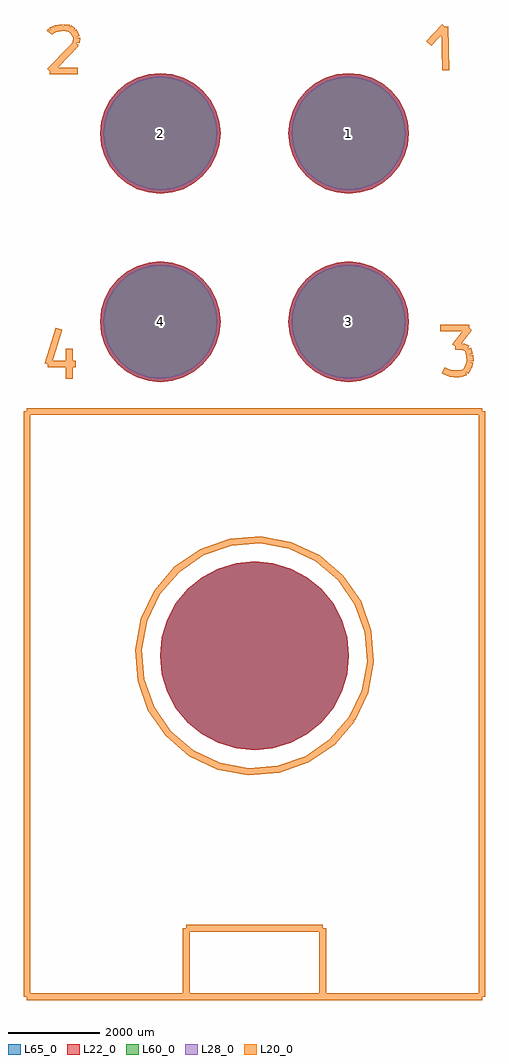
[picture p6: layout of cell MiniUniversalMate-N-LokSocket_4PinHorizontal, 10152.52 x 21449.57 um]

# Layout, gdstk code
import gdstk
lib = gdstk.Library(unit=1e-6, precision=1e-09)
def P(c, l, *ps):  # polygons
    for p in ps: c.add(gdstk.Polygon(p, *l))
L20_0 = (20, 0)
L22_0 = (22, 0)
L28_0 = (28, 0)
L60_0 = (60, 0)
L65_0 = (65, 0)

miniuniversalmate_n_loks = lib.new_cell('MiniUniversalMate-N-LokSocket_4PinHorizontal')
P(miniuniversalmate_n_loks, L22_0, [(2075.25,-9410.7),(2035.375,-9005.839),(1917.281,-8616.536),(1725.507,-8257.753),(1467.423,-7943.277),(1152.947,-7685.193),(794.164,-7493.419),(404.861,-7375.325),(0,-7335.45),(-404.861,-7375.325),(-794.164,-7493.419),(-1152.947,-7685.193),(-1467.423,-7943.277),(-1725.507,-8257.753),(-1917.281,-8616.536),(-2035.375,-9005.839),(-2075.25,-9410.7),(-2035.375,-9815.561),(-1917.281,-10204.864),(-1725.507,-10563.647),(-1467.423,-10878.123),(-1152.947,-11136.207),(-794.164,-11327.981),(-404.861,-11446.075),(0,-11485.95),(404.861,-11446.075),(794.164,-11327.981),(1152.947,-11136.207),(1467.423,-10878.123),(1725.507,-10563.647),(1917.281,-10204.864),(2035.375,-9815.561)],
  [(-745.42,-2070.1),(-770.873,-1811.668),(-846.255,-1563.167),(-968.669,-1334.147),(-1133.41,-1133.41),(-1334.147,-968.669),(-1563.167,-846.255),(-1811.668,-770.873),(-2070.1,-745.42),(-2328.532,-770.873),(-2577.033,-846.255),(-2806.053,-968.669),(-3006.79,-1133.41),(-3171.531,-1334.147),(-3293.945,-1563.167),(-3369.327,-1811.668),(-3394.78,-2070.1),(-3369.327,-2328.532),(-3293.945,-2577.033),(-3171.531,-2806.053),(-3006.79,-3006.79),(-2806.053,-3171.531),(-2577.033,-3293.945),(-2328.532,-3369.327),(-2070.1,-3394.78),(-1811.668,-3369.327),(-1563.167,-3293.945),(-1334.147,-3171.531),(-1133.41,-3006.79),(-968.669,-2806.053),(-846.255,-2577.033),(-770.873,-2328.532)],
  [(3394.78,-2070.1),(3369.327,-1811.668),(3293.945,-1563.167),(3171.531,-1334.147),(3006.79,-1133.41),(2806.053,-968.669),(2577.033,-846.255),(2328.532,-770.873),(2070.1,-745.42),(1811.668,-770.873),(1563.167,-846.255),(1334.147,-968.669),(1133.41,-1133.41),(968.669,-1334.147),(846.255,-1563.167),(770.873,-1811.668),(745.42,-2070.1),(770.873,-2328.532),(846.255,-2577.033),(968.669,-2806.053),(1133.41,-3006.79),(1334.147,-3171.531),(1563.167,-3293.945),(1811.668,-3369.327),(2070.1,-3394.78),(2328.532,-3369.327),(2577.033,-3293.945),(2806.053,-3171.531),(3006.79,-3006.79),(3171.531,-2806.053),(3293.945,-2577.033),(3369.327,-2328.532)],
  [(-745.42,2070.1),(-770.873,2328.532),(-846.255,2577.033),(-968.669,2806.053),(-1133.41,3006.79),(-1334.147,3171.531),(-1563.167,3293.945),(-1811.668,3369.327),(-2070.1,3394.78),(-2328.532,3369.327),(-2577.033,3293.945),(-2806.053,3171.531),(-3006.79,3006.79),(-3171.531,2806.053),(-3293.945,2577.033),(-3369.327,2328.532),(-3394.78,2070.1),(-3369.327,1811.668),(-3293.945,1563.167),(-3171.531,1334.147),(-3006.79,1133.41),(-2806.053,968.669),(-2577.033,846.255),(-2328.532,770.873),(-2070.1,745.42),(-1811.668,770.873),(-1563.167,846.255),(-1334.147,968.669),(-1133.41,1133.41),(-968.669,1334.147),(-846.255,1563.167),(-770.873,1811.668)],
  [(3394.78,2070.1),(3369.327,2328.532),(3293.945,2577.033),(3171.531,2806.053),(3006.79,3006.79),(2806.053,3171.531),(2577.033,3293.945),(2328.532,3369.327),(2070.1,3394.78),(1811.668,3369.327),(1563.167,3293.945),(1334.147,3171.531),(1133.41,3006.79),(968.669,2806.053),(846.255,2577.033),(770.873,2328.532),(745.42,2070.1),(770.873,1811.668),(846.255,1563.167),(968.669,1334.147),(1133.41,1133.41),(1334.147,968.669),(1563.167,846.255),(1811.668,770.873),(2070.1,745.42),(2328.532,770.873),(2577.033,846.255),(2806.053,968.669),(3006.79,1133.41),(3171.531,1334.147),(3293.945,1563.167),(3369.327,1811.668)])
P(miniuniversalmate_n_loks, L28_0, [(-820.42,-2070.1),(-844.432,-1826.3),(-915.546,-1591.868),(-1031.029,-1375.815),(-1186.443,-1186.443),(-1375.815,-1031.029),(-1591.868,-915.546),(-1826.3,-844.432),(-2070.1,-820.42),(-2313.9,-844.432),(-2548.332,-915.546),(-2764.385,-1031.029),(-2953.757,-1186.443),(-3109.171,-1375.815),(-3224.654,-1591.868),(-3295.768,-1826.3),(-3319.78,-2070.1),(-3295.768,-2313.9),(-3224.654,-2548.332),(-3109.171,-2764.385),(-2953.757,-2953.757),(-2764.385,-3109.171),(-2548.332,-3224.654),(-2313.9,-3295.768),(-2070.1,-3319.78),(-1826.3,-3295.768),(-1591.868,-3224.654),(-1375.815,-3109.171),(-1186.443,-2953.757),(-1031.029,-2764.385),(-915.546,-2548.332),(-844.432,-2313.9)],
  [(3319.78,-2070.1),(3295.768,-1826.3),(3224.654,-1591.868),(3109.171,-1375.815),(2953.757,-1186.443),(2764.385,-1031.029),(2548.332,-915.546),(2313.9,-844.432),(2070.1,-820.42),(1826.3,-844.432),(1591.868,-915.546),(1375.815,-1031.029),(1186.443,-1186.443),(1031.029,-1375.815),(915.546,-1591.868),(844.432,-1826.3),(820.42,-2070.1),(844.432,-2313.9),(915.546,-2548.332),(1031.029,-2764.385),(1186.443,-2953.757),(1375.815,-3109.171),(1591.868,-3224.654),(1826.3,-3295.768),(2070.1,-3319.78),(2313.9,-3295.768),(2548.332,-3224.654),(2764.385,-3109.171),(2953.757,-2953.757),(3109.171,-2764.385),(3224.654,-2548.332),(3295.768,-2313.9)],
  [(-820.42,2070.1),(-844.432,2313.9),(-915.546,2548.332),(-1031.029,2764.385),(-1186.443,2953.757),(-1375.815,3109.171),(-1591.868,3224.654),(-1826.3,3295.768),(-2070.1,3319.78),(-2313.9,3295.768),(-2548.332,3224.654),(-2764.385,3109.171),(-2953.757,2953.757),(-3109.171,2764.385),(-3224.654,2548.332),(-3295.768,2313.9),(-3319.78,2070.1),(-3295.768,1826.3),(-3224.654,1591.868),(-3109.171,1375.815),(-2953.757,1186.443),(-2764.385,1031.029),(-2548.332,915.546),(-2313.9,844.432),(-2070.1,820.42),(-1826.3,844.432),(-1591.868,915.546),(-1375.815,1031.029),(-1186.443,1186.443),(-1031.029,1375.815),(-915.546,1591.868),(-844.432,1826.3)],
  [(3319.78,2070.1),(3295.768,2313.9),(3224.654,2548.332),(3109.171,2764.385),(2953.757,2953.757),(2764.385,3109.171),(2548.332,3224.654),(2313.9,3295.768),(2070.1,3319.78),(1826.3,3295.768),(1591.868,3224.654),(1375.815,3109.171),(1186.443,2953.757),(1031.029,2764.385),(915.546,2548.332),(844.432,2313.9),(820.42,2070.1),(844.432,1826.3),(915.546,1591.868),(1031.029,1375.815),(1186.443,1186.443),(1375.815,1031.029),(1591.868,915.546),(1826.3,844.432),(2070.1,820.42),(2313.9,844.432),(2548.332,915.546),(2764.385,1031.029),(2953.757,1186.443),(3109.171,1375.815),(3224.654,1591.868),(3295.768,1826.3)])
P(miniuniversalmate_n_loks, L60_0, [(-820.42,-2070.1),(-844.432,-1826.3),(-915.546,-1591.868),(-1031.029,-1375.815),(-1186.443,-1186.443),(-1375.815,-1031.029),(-1591.868,-915.546),(-1826.3,-844.432),(-2070.1,-820.42),(-2313.9,-844.432),(-2548.332,-915.546),(-2764.385,-1031.029),(-2953.757,-1186.443),(-3109.171,-1375.815),(-3224.654,-1591.868),(-3295.768,-1826.3),(-3319.78,-2070.1),(-3295.768,-2313.9),(-3224.654,-2548.332),(-3109.171,-2764.385),(-2953.757,-2953.757),(-2764.385,-3109.171),(-2548.332,-3224.654),(-2313.9,-3295.768),(-2070.1,-3319.78),(-1826.3,-3295.768),(-1591.868,-3224.654),(-1375.815,-3109.171),(-1186.443,-2953.757),(-1031.029,-2764.385),(-915.546,-2548.332),(-844.432,-2313.9)],
  [(3319.78,-2070.1),(3295.768,-1826.3),(3224.654,-1591.868),(3109.171,-1375.815),(2953.757,-1186.443),(2764.385,-1031.029),(2548.332,-915.546),(2313.9,-844.432),(2070.1,-820.42),(1826.3,-844.432),(1591.868,-915.546),(1375.815,-1031.029),(1186.443,-1186.443),(1031.029,-1375.815),(915.546,-1591.868),(844.432,-1826.3),(820.42,-2070.1),(844.432,-2313.9),(915.546,-2548.332),(1031.029,-2764.385),(1186.443,-2953.757),(1375.815,-3109.171),(1591.868,-3224.654),(1826.3,-3295.768),(2070.1,-3319.78),(2313.9,-3295.768),(2548.332,-3224.654),(2764.385,-3109.171),(2953.757,-2953.757),(3109.171,-2764.385),(3224.654,-2548.332),(3295.768,-2313.9)],
  [(-820.42,2070.1),(-844.432,2313.9),(-915.546,2548.332),(-1031.029,2764.385),(-1186.443,2953.757),(-1375.815,3109.171),(-1591.868,3224.654),(-1826.3,3295.768),(-2070.1,3319.78),(-2313.9,3295.768),(-2548.332,3224.654),(-2764.385,3109.171),(-2953.757,2953.757),(-3109.171,2764.385),(-3224.654,2548.332),(-3295.768,2313.9),(-3319.78,2070.1),(-3295.768,1826.3),(-3224.654,1591.868),(-3109.171,1375.815),(-2953.757,1186.443),(-2764.385,1031.029),(-2548.332,915.546),(-2313.9,844.432),(-2070.1,820.42),(-1826.3,844.432),(-1591.868,915.546),(-1375.815,1031.029),(-1186.443,1186.443),(-1031.029,1375.815),(-915.546,1591.868),(-844.432,1826.3)],
  [(3319.78,2070.1),(3295.768,2313.9),(3224.654,2548.332),(3109.171,2764.385),(2953.757,2953.757),(2764.385,3109.171),(2548.332,3224.654),(2313.9,3295.768),(2070.1,3319.78),(1826.3,3295.768),(1591.868,3224.654),(1375.815,3109.171),(1186.443,2953.757),(1031.029,2764.385),(915.546,2548.332),(844.432,2313.9),(820.42,2070.1),(844.432,1826.3),(915.546,1591.868),(1031.029,1375.815),(1186.443,1186.443),(1375.815,1031.029),(1591.868,915.546),(1826.3,844.432),(2070.1,820.42),(2313.9,844.432),(2548.332,915.546),(2764.385,1031.029),(2953.757,1186.443),(3109.171,1375.815),(3224.654,1591.868),(3295.768,1826.3)])
P(miniuniversalmate_n_loks, L65_0, [(2075.25,-9410.7),(2035.375,-9005.839),(1917.281,-8616.536),(1725.507,-8257.753),(1467.423,-7943.277),(1152.947,-7685.193),(794.164,-7493.419),(404.861,-7375.325),(0,-7335.45),(-404.861,-7375.325),(-794.164,-7493.419),(-1152.947,-7685.193),(-1467.423,-7943.277),(-1725.507,-8257.753),(-1917.281,-8616.536),(-2035.375,-9005.839),(-2075.25,-9410.7),(-2035.375,-9815.561),(-1917.281,-10204.864),(-1725.507,-10563.647),(-1467.423,-10878.123),(-1152.947,-11136.207),(-794.164,-11327.981),(-404.861,-11446.075),(0,-11485.95),(404.861,-11446.075),(794.164,-11327.981),(1152.947,-11136.207),(1467.423,-10878.123),(1725.507,-10563.647),(1917.281,-10204.864),(2035.375,-9815.561)],
  [(-745.42,-2070.1),(-770.873,-1811.668),(-846.255,-1563.167),(-968.669,-1334.147),(-1133.41,-1133.41),(-1334.147,-968.669),(-1563.167,-846.255),(-1811.668,-770.873),(-2070.1,-745.42),(-2328.532,-770.873),(-2577.033,-846.255),(-2806.053,-968.669),(-3006.79,-1133.41),(-3171.531,-1334.147),(-3293.945,-1563.167),(-3369.327,-1811.668),(-3394.78,-2070.1),(-3369.327,-2328.532),(-3293.945,-2577.033),(-3171.531,-2806.053),(-3006.79,-3006.79),(-2806.053,-3171.531),(-2577.033,-3293.945),(-2328.532,-3369.327),(-2070.1,-3394.78),(-1811.668,-3369.327),(-1563.167,-3293.945),(-1334.147,-3171.531),(-1133.41,-3006.79),(-968.669,-2806.053),(-846.255,-2577.033),(-770.873,-2328.532)],
  [(3394.78,-2070.1),(3369.327,-1811.668),(3293.945,-1563.167),(3171.531,-1334.147),(3006.79,-1133.41),(2806.053,-968.669),(2577.033,-846.255),(2328.532,-770.873),(2070.1,-745.42),(1811.668,-770.873),(1563.167,-846.255),(1334.147,-968.669),(1133.41,-1133.41),(968.669,-1334.147),(846.255,-1563.167),(770.873,-1811.668),(745.42,-2070.1),(770.873,-2328.532),(846.255,-2577.033),(968.669,-2806.053),(1133.41,-3006.79),(1334.147,-3171.531),(1563.167,-3293.945),(1811.668,-3369.327),(2070.1,-3394.78),(2328.532,-3369.327),(2577.033,-3293.945),(2806.053,-3171.531),(3006.79,-3006.79),(3171.531,-2806.053),(3293.945,-2577.033),(3369.327,-2328.532)],
  [(-745.42,2070.1),(-770.873,2328.532),(-846.255,2577.033),(-968.669,2806.053),(-1133.41,3006.79),(-1334.147,3171.531),(-1563.167,3293.945),(-1811.668,3369.327),(-2070.1,3394.78),(-2328.532,3369.327),(-2577.033,3293.945),(-2806.053,3171.531),(-3006.79,3006.79),(-3171.531,2806.053),(-3293.945,2577.033),(-3369.327,2328.532),(-3394.78,2070.1),(-3369.327,1811.668),(-3293.945,1563.167),(-3171.531,1334.147),(-3006.79,1133.41),(-2806.053,968.669),(-2577.033,846.255),(-2328.532,770.873),(-2070.1,745.42),(-1811.668,770.873),(-1563.167,846.255),(-1334.147,968.669),(-1133.41,1133.41),(-968.669,1334.147),(-846.255,1563.167),(-770.873,1811.668)],
  [(3394.78,2070.1),(3369.327,2328.532),(3293.945,2577.033),(3171.531,2806.053),(3006.79,3006.79),(2806.053,3171.531),(2577.033,3293.945),(2328.532,3369.327),(2070.1,3394.78),(1811.668,3369.327),(1563.167,3293.945),(1334.147,3171.531),(1133.41,3006.79),(968.669,2806.053),(846.255,2577.033),(770.873,2328.532),(745.42,2070.1),(770.873,1811.668),(846.255,1563.167),(968.669,1334.147),(1133.41,1133.41),(1334.147,968.669),(1563.167,846.255),(1811.668,770.873),(2070.1,745.42),(2328.532,770.873),(2577.033,846.255),(2806.053,968.669),(3006.79,1133.41),(3171.531,1334.147),(3293.945,1563.167),(3369.327,1811.668)])
miniuniversalmate_n_loks.add(gdstk.FlexPath([(4180.84,4419.6),(4201.16,3459.48)], 149.998, ends="flush", simple_path=True, layer=20, datatype=0))  # L20_0
miniuniversalmate_n_loks.add(gdstk.FlexPath([(3830.32,4041.14),(4180.84,4419.6)], 149.998, ends="flush", simple_path=True, layer=20, datatype=0))  # L20_0
miniuniversalmate_n_loks.add(gdstk.FlexPath([(-4500.88,3439.16),(-3888.74,3439.16)], 149.998, ends="flush", simple_path=True, layer=20, datatype=0))  # L20_0
miniuniversalmate_n_loks.add(gdstk.FlexPath([(-4010.66,3939.54),(-4500.88,3439.16)], 149.998, ends="flush", simple_path=True, layer=20, datatype=0))  # L20_0
miniuniversalmate_n_loks.add(gdstk.FlexPath([(-3919.22,4051.3),(-4010.66,3939.54)], 149.998, ends="flush", simple_path=True, layer=20, datatype=0))  # L20_0
miniuniversalmate_n_loks.add(gdstk.FlexPath([(-3909.06,4180.84),(-3919.22,4051.3)], 149.998, ends="flush", simple_path=True, layer=20, datatype=0))  # L20_0
miniuniversalmate_n_loks.add(gdstk.FlexPath([(-3980.18,4320.54),(-3909.06,4180.84)], 149.998, ends="flush", simple_path=True, layer=20, datatype=0))  # L20_0
miniuniversalmate_n_loks.add(gdstk.FlexPath([(-4069.08,4378.96),(-3980.18,4320.54)], 149.998, ends="flush", simple_path=True, layer=20, datatype=0))  # L20_0
miniuniversalmate_n_loks.add(gdstk.FlexPath([(-4201.16,4399.28),(-4069.08,4378.96)], 149.998, ends="flush", simple_path=True, layer=20, datatype=0))  # L20_0
miniuniversalmate_n_loks.add(gdstk.FlexPath([(-4378.96,4371.34),(-4201.16,4399.28)], 149.998, ends="flush", simple_path=True, layer=20, datatype=0))  # L20_0
miniuniversalmate_n_loks.add(gdstk.FlexPath([(-4470.4,4320.54),(-4378.96,4371.34)], 149.998, ends="flush", simple_path=True, layer=20, datatype=0))  # L20_0
miniuniversalmate_n_loks.add(gdstk.FlexPath([(-4500.88,4279.9),(-4470.4,4320.54)], 149.998, ends="flush", simple_path=True, layer=20, datatype=0))  # L20_0
miniuniversalmate_n_loks.add(gdstk.FlexPath([(-4538.98,-2999.74),(-3929.38,-2999.74)], 149.998, ends="flush", simple_path=True, layer=20, datatype=0))  # L20_0
miniuniversalmate_n_loks.add(gdstk.FlexPath([(-4300.22,-2219.96),(-4538.98,-2999.74)], 149.998, ends="flush", simple_path=True, layer=20, datatype=0))  # L20_0
miniuniversalmate_n_loks.add(gdstk.FlexPath([(-4069.08,-2659.38),(-4069.08,-3319.78)], 149.998, ends="flush", simple_path=True, layer=20, datatype=0))  # L20_0
miniuniversalmate_n_loks.add(gdstk.FlexPath([(4290.06,-3205.48),(4150.36,-3136.9)], 149.998, ends="flush", simple_path=True, layer=20, datatype=0))  # L20_0
miniuniversalmate_n_loks.add(gdstk.FlexPath([(4389.12,-3215.64),(4290.06,-3205.48)], 149.998, ends="flush", simple_path=True, layer=20, datatype=0))  # L20_0
miniuniversalmate_n_loks.add(gdstk.FlexPath([(4508.5,-3215.64),(4389.12,-3215.64)], 149.998, ends="flush", simple_path=True, layer=20, datatype=0))  # L20_0
miniuniversalmate_n_loks.add(gdstk.FlexPath([(4640.58,-3177.54),(4508.5,-3215.64)], 149.998, ends="flush", simple_path=True, layer=20, datatype=0))  # L20_0
miniuniversalmate_n_loks.add(gdstk.FlexPath([(4699,-3065.78),(4640.58,-3177.54)], 149.998, ends="flush", simple_path=True, layer=20, datatype=0))  # L20_0
miniuniversalmate_n_loks.add(gdstk.FlexPath([(4739.64,-2946.4),(4699,-3065.78)], 149.998, ends="flush", simple_path=True, layer=20, datatype=0))  # L20_0
miniuniversalmate_n_loks.add(gdstk.FlexPath([(4729.48,-2796.54),(4739.64,-2946.4)], 149.998, ends="flush", simple_path=True, layer=20, datatype=0))  # L20_0
miniuniversalmate_n_loks.add(gdstk.FlexPath([(4688.84,-2667),(4729.48,-2796.54)], 149.998, ends="flush", simple_path=True, layer=20, datatype=0))  # L20_0
miniuniversalmate_n_loks.add(gdstk.FlexPath([(4569.46,-2606.04),(4688.84,-2667)], 149.998, ends="flush", simple_path=True, layer=20, datatype=0))  # L20_0
miniuniversalmate_n_loks.add(gdstk.FlexPath([(4409.44,-2606.04),(4569.46,-2606.04)], 149.998, ends="flush", simple_path=True, layer=20, datatype=0))  # L20_0
miniuniversalmate_n_loks.add(gdstk.FlexPath([(4719.32,-2207.26),(4409.44,-2606.04)], 149.998, ends="flush", simple_path=True, layer=20, datatype=0))  # L20_0
miniuniversalmate_n_loks.add(gdstk.FlexPath([(4079.24,-2207.26),(4719.32,-2207.26)], 149.998, ends="flush", simple_path=True, layer=20, datatype=0))  # L20_0
miniuniversalmate_n_loks.add(gdstk.FlexPath([(0,-16901.16),(5001.26,-16901.16)], 149.998, ends="flush", simple_path=True, layer=20, datatype=0))  # L20_0
miniuniversalmate_n_loks.add(gdstk.FlexPath([(0,-16901.16),(-5001.26,-16901.16)], 149.998, ends="flush", simple_path=True, layer=20, datatype=0))  # L20_0
miniuniversalmate_n_loks.add(gdstk.FlexPath([(5001.26,-4041.14),(5001.26,-16901.16)], 149.998, ends="flush", simple_path=True, layer=20, datatype=0))  # L20_0
miniuniversalmate_n_loks.add(gdstk.FlexPath([(-5001.26,-4041.14),(5001.26,-4041.14)], 149.998, ends="flush", simple_path=True, layer=20, datatype=0))  # L20_0
miniuniversalmate_n_loks.add(gdstk.FlexPath([(-5001.26,-16901.16),(-5001.26,-4041.14)], 149.998, ends="flush", simple_path=True, layer=20, datatype=0))  # L20_0
miniuniversalmate_n_loks.add(gdstk.FlexPath([(-1501.14,-15400.02),(-1501.14,-16901.16)], 149.998, ends="flush", simple_path=True, layer=20, datatype=0))  # L20_0
miniuniversalmate_n_loks.add(gdstk.FlexPath([(1501.14,-15400.02),(-1501.14,-15400.02)], 149.998, ends="flush", simple_path=True, layer=20, datatype=0))  # L20_0
miniuniversalmate_n_loks.add(gdstk.FlexPath([(1501.14,-16901.16),(1501.14,-15400.02)], 149.998, ends="flush", simple_path=True, layer=20, datatype=0))  # L20_0
miniuniversalmate_n_loks.add(gdstk.FlexPath([(2141.22,-10800.08),(2427.858,-10198.55),(2549.041,-9543.328),(2496.511,-8879.069),(2273.848,-8251.039),(1896.227,-7702.038),(1389.38,-7269.48),(787.85,-6982.842),(132.628,-6861.659),(-531.631,-6914.189),(-1159.661,-7136.852),(-1708.662,-7514.473),(-2141.22,-8021.32),(-2427.858,-8622.85),(-2549.041,-9278.072),(-2496.511,-9942.331),(-2273.848,-10570.361),(-1896.227,-11119.362),(-1389.38,-11551.92),(-787.85,-11838.558),(-132.628,-11959.741),(531.631,-11907.211),(1159.661,-11684.548),(1708.662,-11306.927),(2141.22,-10800.08)], 149.998, ends="flush", simple_path=True, layer=20, datatype=0))  # L20_0
miniuniversalmate_n_loks.add(gdstk.Label('4', (-2070.1,-2070.1), layer=28, texttype=0))
miniuniversalmate_n_loks.add(gdstk.Label('3', (2070.1,-2070.1), layer=28, texttype=0))
miniuniversalmate_n_loks.add(gdstk.Label('2', (-2070.1,2070.1), layer=28, texttype=0))
miniuniversalmate_n_loks.add(gdstk.Label('1', (2070.1,2070.1), layer=28, texttype=0))
miniuniversalmate_n_loks.add(gdstk.Label('type', (439.42,-19730.72), layer=9, texttype=0))
miniuniversalmate_n_loks.add(gdstk.Label('devicename', (-78.74,5648.96), layer=9, texttype=0))

lib.write_gds('MiniUniversalMate-N-LokSocket_4PinHorizontal.gds')
